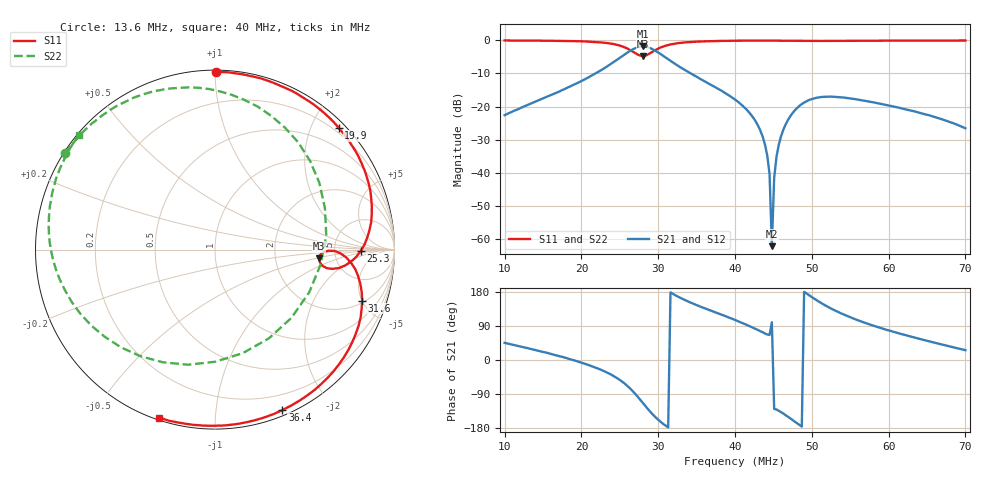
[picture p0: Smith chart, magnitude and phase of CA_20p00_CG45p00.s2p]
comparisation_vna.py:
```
"""
Comparison of pyRFtk (analytical model) vs the VNA measurement grid (Ca,Cg),
and an empirical map of |Gamma_G|^2 -- WITHOUT running HFSS for every point.

Corresponds to discussion points 1, 3, 4:
  1) Compare the analytical pyRFtk model (circuit_pyrftk.py) against EVERY
     measured point of the (Ca,Cg) grid, not just a handful of HFSS points.
  3) Build an empirical 2D map of |Gamma_G|^2 directly from the VNA
     measurements (measured equivalent of map_operational_domain.py).
  4) Recommend a small set of representative points (corners + center +
     worst pyRFtk/VNA discrepancies) to validate under HFSS, instead of the
     whole grid.

REQUIREMENTS:
  - .s2p files are named "CA_<xx>p<xx>_CG<yy>p<yy>.s2p", where <xx>p<xx>
    encodes a value in mm with 'p' standing in for the decimal point
    (e.g. "CA_20p00_CG45p00.s2p" -> Ca=20.00 mm, Cg=45.00 mm).
  - lire_touchstone() comes from VNA/read_touchstone.py (already in the repo).
  - construire_circuit() comes from PyRFtk/circuit_pyrftk.py (already in the
    repo) -- takes Ca, Cg in FARADS and returns a 2-port circuit
    ['antenne', 'generateur'].

VNA PORT CONVENTION (check/adjust if needed):
  port 1 = generator, port 2 = antenna (convention used elsewhere in the
  repo). So:
    S11 measured (VNA)  <-> S[1,1] of the pyRFtk model (index 'generateur')
    S22 measured (VNA)  <-> S[0,0] of the pyRFtk model (index 'antenne')
  If your convention is reversed, set INVERSER_PORTS = True below.
"""

import os
import re
import sys
import numpy as np
import pandas as pd
import matplotlib.pyplot as plt


def trouver_racine_depot(depart=None, max_remontees=6):
    """
    Walks up from 'depart' (defaults to this script's own directory) until
    it finds a directory that contains both PyRFtk/circuit_pyrftk.py and
    VNA/read_touchstone.py -- so this script works no matter where it is
    placed inside the repo.
    """
    if depart is None:
        depart = os.path.dirname(os.path.abspath(__file__))
    courant = depart
    for _ in range(max_remontees):
        a = os.path.join(courant, "PyRFtk", "circuit_pyrftk.py")
        b = os.path.join(courant, "VNA", "read_touchstone.py")
        if os.path.isfile(a) and os.path.isfile(b):
            return courant
        parent = os.path.dirname(courant)
        if parent == courant:  # filesystem root reached
            break
        courant = parent
    raise RuntimeError(
        "Could not automatically locate the repo root (a directory "
        "containing both PyRFtk/circuit_pyrftk.py and "
        "VNA/read_touchstone.py). Check that this script is somewhere "
        "INSIDE the Impedance_matching_internship repo, or set REPO_ROOT "
        "manually below."
    )


try:
    REPO_ROOT = trouver_racine_depot()
except RuntimeError as e:
    print(e)
    sys.exit(1)

sys.path.append(os.path.join(REPO_ROOT, "PyRFtk"))
sys.path.append(os.path.join(REPO_ROOT, "VNA"))

import circuit_pyrftk  # noqa: E402
from read_touchstone import lire_touchstone          # noqa: E402
from circuit_pyrftk import construire_circuit  # noqa: E402

# ============================================================================
# PARAMETERS TO ADJUST
# ============================================================================
DOSSIER_MESURES = os.path.join(REPO_ROOT, "VNA")  # folder with the grid .s2p files
F_CIBLE_HZ = 38e6                     # frequency at which to compare
INVERSER_PORTS = False                # see port convention above

# lt (length between the 2 stubs) and ls (fixed stub length) are both
# IMPOSED here (not auto-computed by circuit_pyrftk.py):
LT_VAL = 0.415   # m -- <-- SET your imposed value for lt here
LS_VAL = 0.460   # m -- <-- SET your imposed value for ls here

# construire_circuit() reads 'ls' as a global variable of the
# circuit_pyrftk module (not a parameter) -- so we overwrite the value
# computed by ls_from_Cs() at module load time, BEFORE any call to
# construire_circuit().
circuit_pyrftk.ls = LS_VAL
print(f"lt imposed at {LT_VAL*1000:.1f} mm, ls imposed at {LS_VAL*1000:.1f} mm "
      f"(values automatically computed by circuit_pyrftk.py are ignored).")

# Historical Cs(x) formula ("Design" paper, section 3.1)
def Cs_from_x_mm(x_mm):
    return (300.0 - x_mm * 5.217) * 1e-12  # F


# ============================================================================
# FILENAME PARSING
# ============================================================================
PATTERN = re.compile(r"CA_(\d+)p(\d+)_CG(\d+)p(\d+)\.s2p", re.IGNORECASE)


def parser_nom_fichier(nom):
    m = PATTERN.search(nom)
    if not m:
        return None
    ca_int, ca_dec, cg_int, cg_dec = m.groups()
    ca_mm = float(f"{ca_int}.{ca_dec}")
    cg_mm = float(f"{cg_int}.{cg_dec}")
    return ca_mm, cg_mm


def index_freq_le_plus_proche(freq_hz, cible_hz):
    return int(np.argmin(np.abs(freq_hz - cible_hz)))


# ============================================================================
# MAIN LOOP: walks through all .s2p files in the folder, compares to pyRFtk
# ============================================================================
def comparer_grille(dossier=DOSSIER_MESURES, f_cible_hz=F_CIBLE_HZ, lt_val=LT_VAL):
    lignes = []

    fichiers = sorted(f for f in os.listdir(dossier) if f.lower().endswith(".s2p"))
    if not fichiers:
        print(f"No .s2p file found in '{dossier}'.")
        return pd.DataFrame()

    for nom in fichiers:
        parsed = parser_nom_fichier(nom)
        if parsed is None:
            print(f"  [!] Unrecognized filename, skipped: {nom}")
            continue
        ca_mm, cg_mm = parsed

        chemin = os.path.join(dossier, nom)
        res = lire_touchstone(chemin)
        k = index_freq_le_plus_proche(res["freq_hz"], f_cible_hz)
        S_mes = res["S"][k]  # measured 2x2 matrix, port1=generator, port2=antenna

        if INVERSER_PORTS:
            s_gen_mes = S_mes[1, 1]
            s_ant_mes = S_mes[0, 0]
        else:
            s_gen_mes = S_mes[0, 0]
            s_ant_mes = S_mes[1, 1]

        Ca_F = Cs_from_x_mm(ca_mm)
        Cg_F = Cs_from_x_mm(cg_mm)
        ct = construire_circuit(Ca_F, Cg_F, lt_val)
        S_mod = ct.getS(f_cible_hz)  # ports ['antenne', 'generateur']
        s_ant_mod = S_mod[0, 0]
        s_gen_mod = S_mod[1, 1]

        dB = lambda z: 20 * np.log10(max(abs(z), 1e-12))

        lignes.append({
            "fichier": nom,
            "Ca_mm": ca_mm,
            "Cg_mm": cg_mm,
            "freq_MHz_reelle": res["freq_hz"][k] / 1e6,
            "|S_gen|_mes_dB": dB(s_gen_mes),
            "|S_gen|_mod_dB": dB(s_gen_mod),
            "ecart_gen_dB": dB(s_gen_mes) - dB(s_gen_mod),
            "|S_ant|_mes_dB": dB(s_ant_mes),
            "|S_ant|_mod_dB": dB(s_ant_mod),
            "ecart_ant_dB": dB(s_ant_mes) - dB(s_ant_mod),
            "Gamma2_G_mesure": abs(s_gen_mes) ** 2,
        })

    return pd.DataFrame(lignes)


# ============================================================================
# PARITY PLOT: measured vs modeled |S_gen| (direct model validation)
# ============================================================================
def tracer_parite(df, chemin_sortie="parite_pyrftk_vs_vna.pdf"):
    fig, ax = plt.subplots(figsize=(6, 6))
    ax.scatter(df["|S_gen|_mes_dB"], df["|S_gen|_mod_dB"], s=25, alpha=0.7)

    lo = min(df["|S_gen|_mes_dB"].min(), df["|S_gen|_mod_dB"].min())
    hi = max(df["|S_gen|_mes_dB"].max(), df["|S_gen|_mod_dB"].max())
    ax.plot([lo, hi], [lo, hi], "k--", linewidth=1, label="y = x (perfect agreement)")

    ax.set_xlabel("|S_gen| measured [dB]")
    ax.set_ylabel("|S_gen| pyRFtk model [dB]")
    ax.set_title("Parity: pyRFtk vs VNA")
    ax.legend()
    ax.grid(alpha=0.3)
    ax.set_aspect("equal", adjustable="box")
    plt.tight_layout()
    plt.savefig(chemin_sortie, dpi=150)
    print(f"Parity plot saved: {chemin_sortie}")
    plt.show()


# ============================================================================
# SIDE-BY-SIDE HEATMAPS: measurement vs model, shared color scale
# ============================================================================
def tracer_heatmaps_comparees(df, chemin_sortie="heatmaps_mesure_vs_modele.pdf"):
    pivot_mes = df.pivot(index="Ca_mm", columns="Cg_mm", values="|S_gen|_mes_dB")
    pivot_mod = df.pivot(index="Ca_mm", columns="Cg_mm", values="|S_gen|_mod_dB")

    vmin = min(pivot_mes.min().min(), pivot_mod.min().min())
    vmax = max(pivot_mes.max().max(), pivot_mod.max().max())

    fig, axes = plt.subplots(1, 2, figsize=(13, 6), sharey=True)
    for ax, pivot, titre in zip(axes, [pivot_mes, pivot_mod], ["Measurement (VNA)", "Model (pyRFtk)"]):
        im = ax.pcolormesh(pivot.columns, pivot.index, pivot.values,
                            shading="auto", cmap="viridis_r", vmin=vmin, vmax=vmax)
        ax.set_xlabel("Cg [mm]")
        ax.set_title(titre)
    axes[0].set_ylabel("Ca [mm]")
    fig.colorbar(im, ax=axes, label="|S_gen| [dB]", shrink=0.85)
    fig.suptitle(f"|S_gen| at {F_CIBLE_HZ/1e6:.1f} MHz -- measurement vs model")
    plt.savefig(chemin_sortie, dpi=150, bbox_inches="tight")
    print(f"Side-by-side heatmaps saved: {chemin_sortie}")
    plt.show()


# ============================================================================
# HISTOGRAM OF THE pyRFtk - VNA DISCREPANCY
# ============================================================================
def tracer_histogramme_ecart(df, chemin_sortie="histogramme_ecart.pdf"):
    fig, ax = plt.subplots(figsize=(7, 5))
    ax.hist(df["ecart_gen_dB"], bins=20, edgecolor="black", alpha=0.8)
    ax.axvline(df["ecart_gen_dB"].median(), color="red", linestyle="--",
               label=f"median = {df['ecart_gen_dB'].median():.2f} dB")
    ax.set_xlabel("|S_gen| discrepancy, measured - model [dB]")
    ax.set_ylabel("Number of points")
    ax.set_title("Distribution of the pyRFtk vs VNA discrepancy")
    ax.legend()
    ax.grid(alpha=0.3)
    plt.tight_layout()
    plt.savefig(chemin_sortie, dpi=150)
    print(f"Histogram saved: {chemin_sortie}")
    plt.show()


# ============================================================================
# EMPIRICAL 2D MAP OF |Gamma_G|^2 (point 3)
# ============================================================================
def tracer_carte_gamma2(df, chemin_sortie="carte_gamma2_mesure.pdf"):
    pivot = df.pivot(index="Ca_mm", columns="Cg_mm", values="Gamma2_G_mesure")
    fig, ax = plt.subplots(figsize=(7, 6))
    im = ax.pcolormesh(pivot.columns, pivot.index, pivot.values, shading="auto", cmap="viridis_r")
    fig.colorbar(im, ax=ax, label="|Gamma_G|^2 (measured)")
    ax.set_xlabel("Cg [mm]")
    ax.set_ylabel("Ca [mm]")
    ax.set_title(f"Measured map of |Gamma_G|^2 at {F_CIBLE_HZ/1e6:.1f} MHz")
    plt.tight_layout()
    plt.savefig(chemin_sortie, dpi=150)
    print(f"Map saved: {chemin_sortie}")
    plt.show()


# ============================================================================
# SUGGESTED POINTS FOR HFSS VALIDATION (point 4)
# ============================================================================
def suggerer_points_hfss(df, n_pires=3):
    if df.empty:
        return []

    ca_min, ca_max = df["Ca_mm"].min(), df["Ca_mm"].max()
    cg_min, cg_max = df["Cg_mm"].min(), df["Cg_mm"].max()
    ca_mid = df["Ca_mm"].median()
    cg_mid = df["Cg_mm"].median()

    coins_et_centre = [
        (ca_min, cg_min), (ca_min, cg_max),
        (ca_max, cg_min), (ca_max, cg_max),
        (ca_mid, cg_mid),
    ]

    df_tri = df.reindex(df["ecart_gen_dB"].abs().sort_values(ascending=False).index)
    pires = list(zip(df_tri["Ca_mm"].head(n_pires), df_tri["Cg_mm"].head(n_pires)))

    points = coins_et_centre + [p for p in pires if p not in coins_et_centre]

    print("\n=== Suggested points for HFSS validation ===")
    for ca, cg in points:
        print(f"  Ca={ca:.2f} mm, Cg={cg:.2f} mm")
    return points


# ============================================================================
if __name__ == "__main__":
    dossier = sys.argv[1] if len(sys.argv) > 1 else DOSSIER_MESURES

    print(f"Comparing pyRFtk vs VNA on '{dossier}' at {F_CIBLE_HZ/1e6:.2f} MHz...")
    df = comparer_grille(dossier)

    if df.empty:
        sys.exit(1)

    df = df.sort_values(["Ca_mm", "Cg_mm"]).reset_index(drop=True)
    chemin_csv = "comparaison_pyrftk_vs_vna.csv"
    df.to_csv(chemin_csv, index=False)
    print(f"\nFull table saved: {chemin_csv} ({len(df)} points)")

    print("\n=== pyRFtk vs VNA discrepancy statistics (|S_gen| in dB) ===")
    print(df["ecart_gen_dB"].describe())

    tracer_carte_gamma2(df)
    tracer_parite(df)
    tracer_heatmaps_comparees(df)
    tracer_histogramme_ecart(df)
    suggerer_points_hfss(df)
```
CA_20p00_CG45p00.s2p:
#  HZ  S  RI  R  50.00
! Rohde & Schwarz ZVT8 8Ports - Version 4.11 - 1300.0000k08 SN: 100242
! Date: 2026-07-31 14:28:29
! Measurements: S11 S21 S12 S22
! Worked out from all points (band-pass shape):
!   201 points, 10 MHz to 70 MHz, reference 50 ohm
!   highest |S21| = -1.85 dB at 28 MHz (marker M1); lowest = -62.2 dB at 44.8 MHz (marker M2)
!   |S21| within 3 dB of the highest: 25.25 MHz to 30.76 MHz (5.514 MHz wide, 19.7 % of centre)
!   lowest |S11| = -4.7 dB at 28 MHz (marker M3), VSWR 3.78, Z = 185 - j26.8 ohm
!   |S11| at or under -10 dB: nowhere
!   |S22| runs from -4.9 to 0.0 dB; largest |S21 - S12| = 0.0031
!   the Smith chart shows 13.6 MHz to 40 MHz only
!   S11 on the Smith chart (normalised r, x): 13.6 MHz: 0.01, +1.01; 19.9 MHz: 0.12, +2.43; 25.3 MHz: 9.65, -0.41; 31.6 MHz: 2.18, -5.02; 36.4 MHz: 0.05, -1.50; 40 MHz: 0.01, -0.72
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1e7  -0.4078 0.9097  0.0522 0.0527  0.052 0.0527  -0.9168 0.3904
1.36e7  0.00567 0.9914  0.0998 0.0538  0.0999 0.0532  -0.8333 0.5363
1.99e7  0.6887 0.6786  0.2378 -0.0263  0.2383 -0.0263  -0.5311 0.8093
2.53e7  0.8125 -0.00715  0.3154 -0.4849  0.315 -0.4833  0.3145 0.7443
2.8e7  0.5796 -0.0479  -0.3204 -0.7424  -0.3175 -0.7437  0.425 -0.3812
3.16e7  0.8199 -0.2842  -0.4904 0.0138  -0.4913 0.0142  -0.8343 -0.2297
3.64e7  0.376 -0.8938  -0.1584 0.1647  -0.1588 0.1649  -0.8771 0.4165
4e7  -0.3131 -0.9356  -0.0345 0.1227  -0.0345 0.1227  -0.755 0.6408
4.48e7  -0.9819 0.133  -0.000128 0.000766  -0.000119 0.000894  -0.5712 0.8176
5.17e7  0.9805 0.0226  -0.1146 0.0815  -0.1147 0.0814  -0.3061 0.9377
7e7  -0.9564 0.2758  0.0423 0.0205  0.0421 0.0204  0.3819 0.9205
